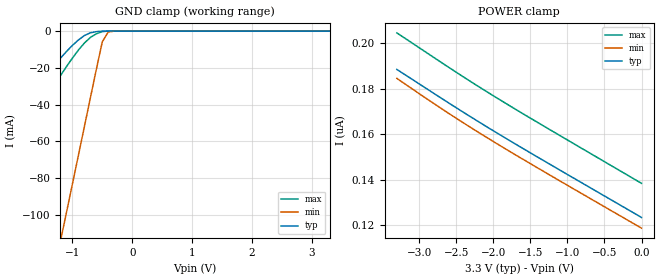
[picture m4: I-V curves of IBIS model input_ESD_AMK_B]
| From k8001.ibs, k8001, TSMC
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|   Model input_ESD_AMK_B
[Model]   input_ESD_AMK_B
Model_type   Input
Polarity   Non-Inverting
Vinl =   0.8V
Vinh =   2.0V
C_comp   1.17e-12F   1.32e-12F   1.14e-12F
[Temperature Range]   25   125   0
[Voltage Range]   3.30V   3.00V   3.60V
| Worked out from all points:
|   GND clamp passes 1 mA (typ) near -0.70 V on its own axis
[POWER_clamp]
| voltage   I(typ)   I(min)   I(max)
-3.3V     188.5nA    184.5nA    204.5nA
-2.6V     173.7nA    169.2nA    189.4nA
-2V       161.6nA    156.9nA    176.9nA
-1.3V     148.1nA    143.3nA    163.3nA
0V        123.5nA    118.8nA    138.5nA
[GND_clamp]
| voltage   I(typ)   I(min)   I(max)
-3.3V     -95.92mA   -405.3mA   -124.9mA
-2.9V     -81.86mA   -357mA     -107.9mA
-2.2V     -54.93mA   -263.4mA   -75.14mA
-1.2V     -14.76mA   -114.4mA   -24.26mA
-1.1V     -11.16mA   -98.92mA   -19.39mA
-900mV    -4.836mA   -67.72mA   -10.37mA
-800mV    -2.458mA   -52.09mA   -6.516mA
-700mV    -947.2uA   -36.46mA   -3.479mA
-600mV    -303.5uA   -20.87mA   -1.475mA
-500mV    -53.08uA   -5.827mA   -261.3uA
-400mV    -1.913uA   -462.9uA   -6.993uA
3.3V      123.5nA    124.4nA    132.7nA
